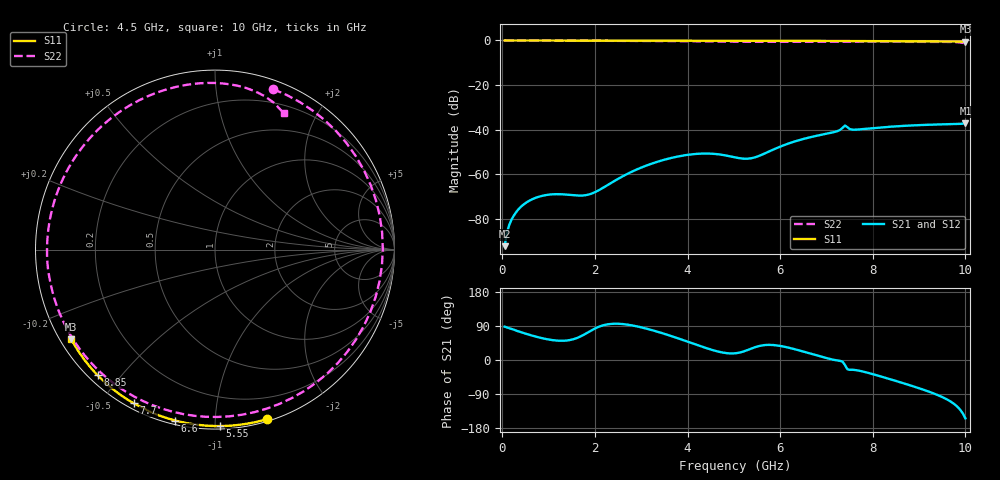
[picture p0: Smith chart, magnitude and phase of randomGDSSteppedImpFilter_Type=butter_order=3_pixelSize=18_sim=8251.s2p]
! freq	dB(S11)	phase(S11)	dB(S12)	phase(S12)
!  dB(S21)	phase(S21)	dB(S22)	phase(S22)
!S-par simulation data
#  GHz  S  DB  R 50
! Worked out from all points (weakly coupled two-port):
!   200 points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, 50 MHz to 10 GHz, reference 50 ohm
!   highest |S21| = -37.13 dB at 10 GHz (marker M1); lowest = -92.1 dB at 50 MHz (marker M2)
!   lowest |S11| = -0.5 dB at 10 GHz (marker M3), VSWR 34.52, Z = 1.57 - j14.3 ohm
!   |S11| at or under -10 dB: nowhere
!   |S22| runs from -1.4 to 0.0 dB; largest |S21 - S12| = 0
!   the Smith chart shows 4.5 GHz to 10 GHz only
!   S11 on the Smith chart (normalised r, x): 4.5 GHz: 0.02, -1.35; 5.55 GHz: 0.02, -1.03; 6.6 GHz: 0.02, -0.79; 7.7 GHz: 0.02, -0.60; 8.85 GHz: 0.03, -0.43; 10 GHz: 0.03, -0.29
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0.05  -0.00 -0.9  -92.13 87.9  -92.13 87.9  -0.00 -3.4
0.2  -0.00 -3.4  -80.17 81.9  -80.17 81.9  -0.02 -13.6
0.45  -0.01 -7.7  -73.64 71.6  -73.64 71.6  -0.04 -30.3
0.95  -0.02 -16.2  -69.21 55.2  -69.21 55.2  -0.08 -62.6
1.75  -0.04 -29.6  -69.42 65.9  -69.42 65.9  -0.12 -110.1
2.65  -0.06 -44.4  -60.29 94.2  -60.29 94.2  -0.17 -159.6
3.4  -0.07 -56.3  -54.00 72.8  -54.00 72.8  -0.23 156.6
4.05  -0.09 -66.3  -51.10 46.4  -51.10 46.4  -0.33 110.4
4.5  -0.11 -73.1  -50.69 27.7  -50.69 27.7  -0.44 70.1
4.75  -0.11 -76.8  -51.24 19.9  -51.24 19.9  -0.50 44.4
5.05  -0.12 -81.2  -52.46 18.1  -52.46 18.1  -0.57 11.5
5.3  -0.13 -84.8  -52.94 26.5  -52.94 26.5  -0.60 -16.3
5.55  -0.14 -88.4  -51.65 37.0  -51.65 37.0  -0.62 -42.9
6  -0.17 -94.8  -47.56 37.2  -47.56 37.2  -0.61 -84.9
6.6  -0.20 -103.1  -43.59 18.8  -43.59 18.8  -0.58 -128.8
6.7  -0.20 -104.5  -43.10 15.3  -43.10 15.3  -0.58 -135.0
7.4  -0.29 -114.1  -38.11 -13.5  -38.11 -13.5  -0.57 -172.9
7.7  -0.28 -117.8  -39.85 -28.1  -39.85 -28.1  -0.58 172.8
8.35  -0.33 -126.5  -38.68 -49.7  -38.68 -49.7  -0.59 144.3
8.85  -0.37 -133.0  -38.06 -68.5  -38.06 -68.5  -0.60 123.2
9.6  -0.45 -142.8  -37.53 -103.9  -37.53 -103.9  -0.65 90.0
10  -0.50 -148.1  -37.13 -153.9  -37.13 -153.9  -1.39 63.4
